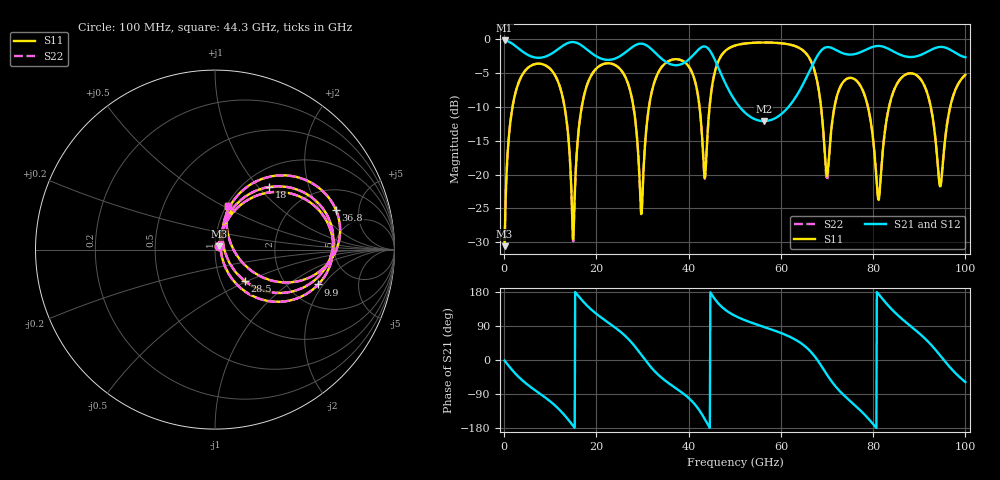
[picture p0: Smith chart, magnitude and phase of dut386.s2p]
! Touchstone file exported from HFSS 2026.1.0
!  File:  C:/ffzhzh/LocalFiles/Ansys_Project_Files/temp_train_TSV_RDL_386_1783717152_45164.aedt
!  Generated:  05:08:12 AM Jul 11, 2026
!  Design:  TSV_RDL
!  Project:  temp_train_TSV_RDL_386_1783717152_45164
! Variables:
!  h_bsmrdl = 2.73um
!  h_ox = 20um
!  h_rdl = 5um
!  h_sub = 70.43um
!  h_tmrdl = 4.9um
!  h_tsv = 70.43um
!  h_via = 3um
!  l_bsmrdl = 245.82um
!  l_sub = 3931.51um
!  l_tmrdl = 671.73um
!  m_sub = 200um
!  pitch = 58.77um
!  r_tsv = 9.12um
!  s_tmrdl = 10um
!  w_bsmrdl = 24.62um
!  w_sub = 500um
!  w_tmrdl = 11.09um
!  x_tsv_center1 = 677.275um
!  x_tsv_center2 = 947.715um
!  x_tsv_center3 = 1630.535um
!  x_tsv_center4 = 1900.975um
!  x_tsv_center5 = 2583.795um
!  x_tsv_center6 = 2854.235um
# GHz S MA R 50.000000
! Terminal data exported
! Port[1] = TM_RDL1_1_T1
! Port[2] = TM_RDL5_1_T1
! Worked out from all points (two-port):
!   1000 points, 100 MHz to 100 GHz, reference 50 ohm
!   highest |S21| = -0.20 dB at 100 MHz (marker M1); lowest = -12.1 dB at 56.3 GHz (marker M2)
!   |S21| within 3 dB of the highest: start of sweep to 34.72 GHz; 67.31 GHz to end of sweep (the widest 2 of 3)
!   lowest |S11| = -30.6 dB at 100 MHz (marker M3), VSWR 1.06, Z = 52.3 + j1.98 ohm
!   |S11| at or under -10 dB: 13.1 GHz to 16.82 GHz (3.724 GHz wide, 24.9 % of centre); 78.87 GHz to 83.45 GHz (4.578 GHz wide, 5.64 % of centre); 92.49 GHz to 96.71 GHz (4.217 GHz wide, 4.46 % of centre) (the widest 3 of 7)
!   |S22| runs from -30.6 to -0.5 dB; largest |S21 - S12| = 2.1e-10
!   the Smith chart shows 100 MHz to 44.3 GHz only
!   S11 on the Smith chart (normalised r, x): 100 MHz: 1.05, +0.04; 9.9 GHz: 2.90, -1.78; 18 GHz: 1.29, +1.15; 28.5 GHz: 1.30, -0.48; 36.8 GHz: 3.21, +2.85; 44.3 GHz: 1.02, +0.53
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0.1  0.02964 39.7  0.9776 -1.6  0.9776 -1.6  0.02964 39.7
! Gamma 0 0 0 0
! Port Impedance 50 0 50 0
2.7  0.4315 47.3  0.8759 -39.2  0.8759 -39.2  0.4315 47.3
9.9  0.6074 -18.7  0.768 -108.4  0.768 -108.4  0.6075 -18.7
14.9  0.03409 -12.2  0.9515 -172.8  0.9515 -172.8  0.03307 -13.0
16.8  0.3131 62.2  0.8978 158.8  0.8978 158.8  0.3129 62.4
18  0.4616 49.1  0.8358 143.2  0.8358 143.2  0.4614 49.2
23.4  0.657 1.2  0.7079 91.5  0.7079 91.5  0.6569 1.3
28.5  0.241 -46.5  0.904 33.4  0.904 33.4  0.241 -46.3
29.8  0.05183 24.7  0.9258 12.7  0.9258 12.7  0.05257 24.7
33.4  0.5655 47.0  0.7554 -38.8  0.7554 -38.8  0.5656 47.0
36.8  0.7091 18.1  0.6434 -71.0  0.6434 -71.0  0.7092 18.1
44.3  0.2537 73.3  0.848 -173.1  0.848 -173.1  0.2532 73.5
50.1  0.8975 23.0  0.3497 116.3  0.3497 116.3  0.8974 23.0
56.3  0.9442 -3.1  0.2482 87.4  0.2482 87.4  0.9441 -3.1
66.7  0.6675 -63.4  0.6286 18.9  0.6286 18.9  0.6668 -63.8
70  0.09749 -33.9  0.873 -38.9  0.873 -38.9  0.09084 -33.6
73.3  0.4716 -3.3  0.7895 -88.8  0.7895 -88.8  0.4711 -2.6
81.1  0.06558 -14.9  0.8903 174.7  0.8903 174.7  0.0679 -14.4
83.4  0.3112 41.5  0.8454 142.0  0.8454 142.0  0.3115 41.3
90.3  0.5055 -21.4  0.7642 67.1  0.7642 67.1  0.5055 -21.2
94.4  0.08478 -9.7  0.8748 14.0  0.8748 14.0  0.08593 -9.4
100  0.5452 27.6  0.7349 -58.4  0.7349 -58.4  0.5453 27.7
